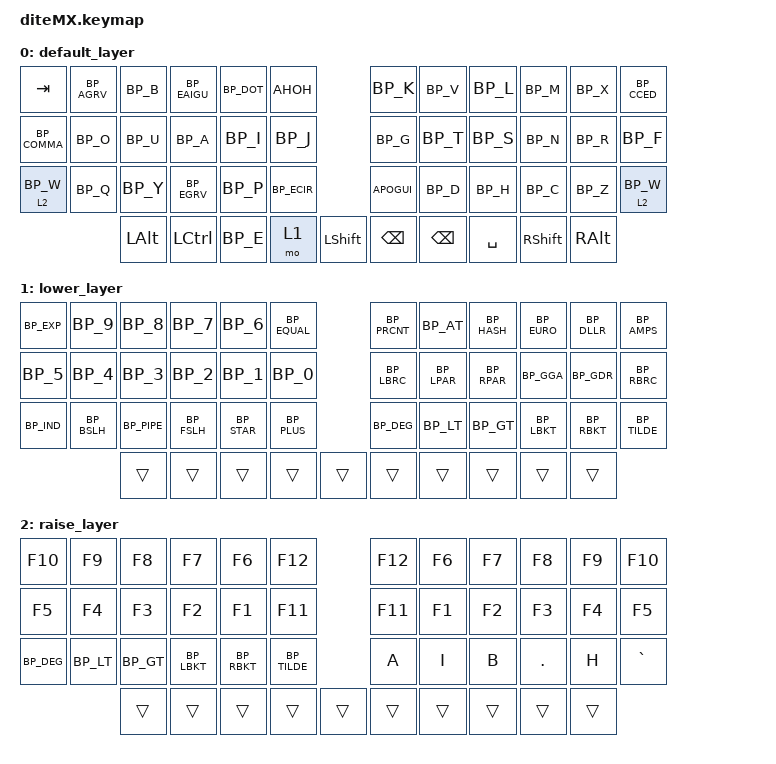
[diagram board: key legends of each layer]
#include <behaviors.dtsi>
#include "keys_bepo.h"
#include <dt-bindings/zmk/bt.h>
#include "mouse.dtsi"
#include <dt-bindings/zmk/outputs.h>

//shift circonflexe pour deux point sur le I et test JE n’ai pas comprisa 
// test taille

#define default 0
#define lower   1
#define raise   2

/ {
    behaviors {
        AHOH: exclamation_question {
            compatible = "zmk,behavior-mod-morph";
            label = "EXCLAMATION_QUESTION";
            #binding-cells = <0>;
            bindings = <&kp BP_QMARK>, <&kp BP_EXCL>;
            mods = <(MOD_LSFT|MOD_RSFT)>;
        };
        APOGUI: apos_guillement {
            compatible = "zmk,behavior-mod-morph";
            label = "APOSTROPHE_GUILLEMET";
            #binding-cells = <0>;
            bindings = <&kp BP_APOS>, <&kp BP_DQT>;
            mods = <(MOD_LSFT|MOD_RSFT)>;
        };
    };
};

#define COMBO(NAME, TIME, BINDINGS, KEYPOS) \
  combo_##NAME { \
    timeout-ms = <TIME>; \
    bindings = <BINDINGS>; \
    key-positions = <KEYPOS>; \
  };
//         ______________________                           ________________________
//        |0  |1  |2  |3  |4  |5  |                         |6  |7  |8  |9  |10 |11 |
//        |12 |13 |14 |15 |16 |17 |                         |18 |19 |20 |21 |22 |23 |
//        |24 |25 |26 |27 |28 |29 |______           ________|30 |31 |32 |33 |34 |35 |  
//             ‾‾‾‾‾‾‾|36 |37 |38 |39 |40|          |41 |42 |43 |44 |45 |‾‾‾               
//                    ‾‾‾‾‾‾‾‾‾‾‾‾‾‾‾‾‾‾‾           ‾‾‾‾‾‾‾‾‾‾‾‾‾‾‾‾‾‾
/ {
        combos {
                compatible = "zmk,combos";

                COMBO(circonflexe, 70, &kp BP_CARET, 8 9)
                COMBO(tiret, 70, &kp BP_MINUS, 7 8)
                COMBO(underscore, 70, &kp BP_UNDER, 31 32)                

                COMBO(fleche_haut, 50, &kp UP, 3 15)
                COMBO(fleche_bas, 50, &kp DOWN, 15 27)
                COMBO(fleche_gauche, 70, &kp LEFT, 12 13)           
                COMBO(fleche_droite, 50, &kp RIGHT, 16 17)

                COMBO(supr, 50, &kp DEL, 4 16)
                COMBO(enter_un, 80, &kp ENTER, 13 14 15 16)
                COMBO(enter_two, 80, &kp ENTER, 14 15 16)
                COMBO(esc, 50, &kp ESC, 0 1)
                COMBO(Lshift, 70, &kp LSHFT, 28 37)
                COMBO(capslock, 50, &kp CAPS, 37 44)


                COMBO(ctrl_z, 50, &kp LC(BP_Z), 25 26)
                COMBO(ctrl_c, 50, &kp LC(BP_C), 26 27)
                COMBO(ctrl_v, 50, &kp LC(BP_V), 27 28)
                COMBO(ctrl_s, 70, &kp LC(BP_S), 4 5) 

                COMBO(bt_profile_0, 50, &bt BT_SEL 0, 9 10 11) 
                COMBO(bt_profile_1, 50, &bt BT_SEL 1, 21 22 23) 
                COMBO(bt_profile_2, 50, &bt BT_SEL 2, 33 34 35)

                COMBO(bt_clear, 50, &bt BT_CLR, 11 23 35) 
//                COMBO(lower, 100, &mo 1, 40 42)

        };

        keymap {
            compatible = "zmk,keymap";
    
        default_layer {

            bindings = <
&kp TAB	        &kp BP_AGRV	  &kp BP_B    &kp BP_EAIGU      &kp BP_DOT     &AHOH                                &kp BP_K	    &kp BP_V	    &kp BP_L	&kp BP_M	&kp BP_X	&kp BP_CCED
&kp BP_COMMA	&kp BP_O	  &kp BP_U    &kp BP_A	        &kp BP_I	   &kp BP_J                             &kp BP_G        &kp BP_T	    &kp BP_S	&kp BP_N	&kp BP_R	&kp BP_F
&lt 2 BP_W        	&kp BP_Q	  &kp BP_Y    &kp BP_EGRV	    &kp BP_P	   &kp BP_ECIR                          &APOGUI	        &kp BP_D	    &kp BP_H    &kp BP_C    &kp BP_Z	&lt 2 BP_W
                              &kp LALT   &kp LCTRL          &kp BP_E	   &mo 1      &kp LSHFT        &kp BSPC    &kp BSPC        &kp SPACE       &kp RSHFT   &kp RALT	
            >;      
    };

    lower_layer {
		
        bindings = <
&kp BP_EXP &kp BP_9      &kp BP_8	  &kp BP_7	    &kp BP_6 	 &kp BP_EQUAL	                &kp BP_PRCNT   &kp BP_AT    &kp BP_HASH     &kp BP_EURO    &kp BP_DLLR	 &kp BP_AMPS
&kp BP_5   &kp BP_4	     &kp BP_3	  &kp BP_2  	&kp BP_1     &kp BP_0                       &kp BP_LBRC    &kp BP_LPAR  &kp BP_RPAR     &kp BP_GGA     &kp BP_GDR	 &kp BP_RBRC
&kp BP_IND &kp BP_BSLH   &kp BP_PIPE  &kp BP_FSLH   &kp BP_STAR  &kp BP_PLUS                    &kp BP_DEG   &kp BP_LT    &kp BP_GT	    &kp BP_LBKT	   &kp BP_RBKT   &kp BP_TILDE
                         &trans       &trans        &trans       &trans         &trans          &trans         &trans       &trans          &trans         &trans
                >;      
        };

    
            raise_layer {
    
                bindings = <
&kp F10 &kp F9 &kp F8	  &kp F7	&kp F6 	    &kp F12                &kp F12	     &kp F6	    &kp F7   &kp F8	    &kp F9	    &kp F10
&kp F5  &kp F4	&kp F3	  &kp F2	&kp F1     &kp F11                 &kp F11       &kp F1     &kp F2	 &kp F3	&kp F4 	&kp F5
&kp BP_DEG  &kp BP_LT   &kp BP_GT     &kp BP_LBKT   &kp BP_RBKT    &kp BP_TILDE                 &kp A	     &kp I	    &kp B    &kp DOT    &kp H	    &kp GRAVE
                &trans        &trans        &trans          &trans    &trans   &trans  &trans        &trans     &trans	 &trans
                >;      
            };
    
        };
    };
